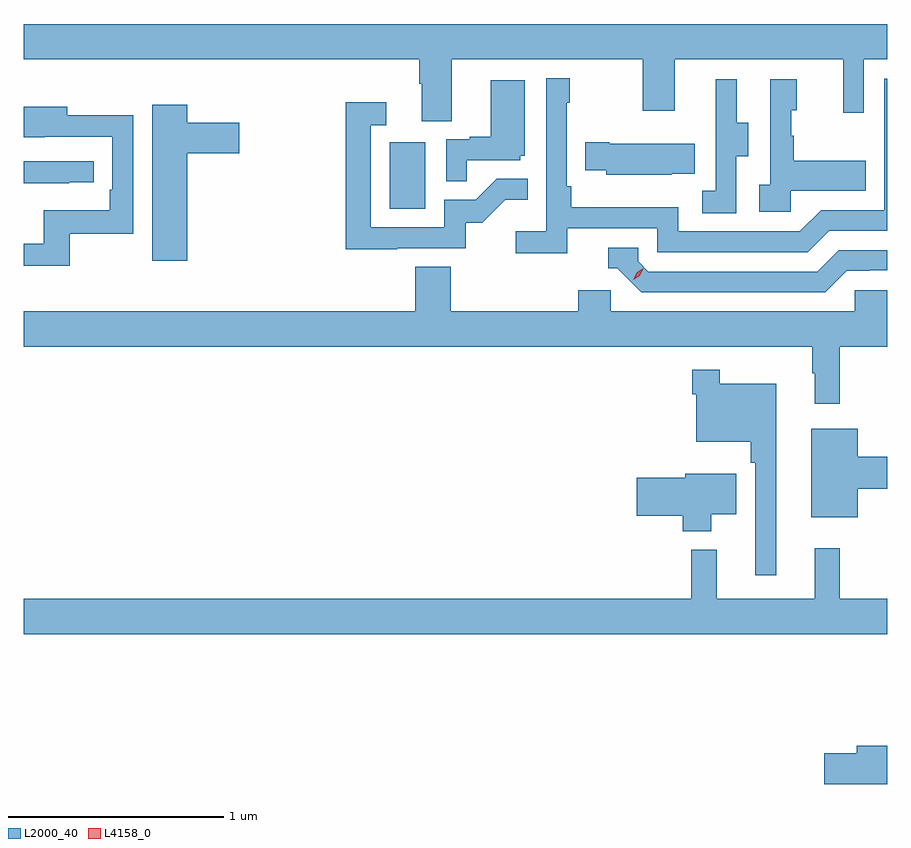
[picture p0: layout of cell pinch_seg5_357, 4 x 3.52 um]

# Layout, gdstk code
import gdstk
lib = gdstk.Library(unit=1e-6, precision=1e-09)
def R(c, l, rs):  # rectangles x0, y0, x1, y1
    for r in rs: c.add(gdstk.rectangle(r[:2], r[2:], *l))
def P(c, l, *ps):  # polygons
    for p in ps: c.add(gdstk.Polygon(p, *l))
L2000_40 = (2000, 40)
L4158_0 = (4158, 0)

pinch_seg5_357 = lib.new_cell('pinch_seg5_357')
R(pinch_seg5_357, L2000_40, [(963.854,877.38,964.018,877.687)])
P(pinch_seg5_357, L2000_40, [(964.141,878.072),(965.026,878.072),(965.026,877.833),(965.173,877.833),(965.173,878.072),(965.954,878.072),(965.954,877.824),(966.051,877.824),(966.051,878.072),(966.158,878.072),(966.158,878.236),(962.158,878.236),(962.158,878.072),(963.989,878.072),(963.989,877.96),(964.001,877.96),(964.001,877.786),(964.141,877.786)],
  [(964.676,877.29),(965.094,877.29),(965.094,877.179),(965.791,877.179),(965.89,877.278),(966.158,877.278),(966.158,877.983),(966.144,877.983),(966.144,877.374),(965.853,877.374),(965.754,877.275),(965.19,877.275),(965.19,877.387),(964.694,877.387),(964.694,877.483),(964.674,877.483),(964.674,877.871),(964.687,877.871),(964.687,877.984),(964.578,877.984),(964.578,877.276),(964.437,877.276),(964.437,877.174),(964.676,877.174)],
  [(965.46,877.624),(965.515,877.624),(965.515,877.779),(965.461,877.779),(965.461,877.981),(965.363,877.981),(965.363,877.767),(965.364,877.767),(965.364,877.463),(965.301,877.463),(965.301,877.36),(965.46,877.36)],
  [(965.712,877.463),(966.059,877.463),(966.059,877.603),(965.725,877.603),(965.725,877.718),(965.715,877.718),(965.715,877.836),(965.74,877.836),(965.74,877.981),(965.616,877.981),(965.616,877.49),(965.565,877.49),(965.565,877.365),(965.712,877.365)],
  [(964.211,877.605),(964.458,877.605),(964.458,877.626),(964.48,877.626),(964.48,877.975),(964.322,877.975),(964.322,877.714),(964.223,877.714),(964.223,877.701),(964.116,877.701),(964.116,877.507),(964.211,877.507)],
  [(963.887,877.197),(964.206,877.197),(964.206,877.314),(964.282,877.314),(964.389,877.421),(964.493,877.421),(964.493,877.52),(964.349,877.52),(964.251,877.422),(964.107,877.422),(964.107,877.293),(963.765,877.293),(963.765,877.767),(963.838,877.767),(963.838,877.873),(963.649,877.873),(963.649,877.192),(963.887,877.192)],
  [(962.914,877.637),(963.157,877.637),(963.157,877.779),(962.914,877.779),(962.914,877.861),(962.753,877.861),(962.753,877.14),(962.914,877.14)],
  [(962.371,877.263),(962.664,877.263),(962.664,877.814),(962.359,877.814),(962.359,877.852),(962.158,877.852),(962.158,877.712),(962.255,877.712),(962.255,877.713),(962.568,877.713),(962.568,877.468),(962.555,877.468),(962.555,877.372),(962.25,877.372),(962.25,877.217),(962.158,877.217),(962.158,877.116),(962.371,877.116)],
  [(965.159,877.541),(965.267,877.541),(965.267,877.681),(964.87,877.681),(964.87,877.689),(964.759,877.689),(964.759,877.559),(964.857,877.559),(964.857,877.538),(965.159,877.538)],
  [(962.369,877.503),(962.482,877.503),(962.482,877.599),(962.158,877.599),(962.158,877.498),(962.369,877.498)],
  [(965.971,877.092),(966.078,877.092),(966.078,877.095),(966.158,877.095),(966.158,877.188),(965.934,877.188),(965.835,877.089),(965.052,877.089),(965.004,877.137),(965.004,877.2),(964.865,877.2),(964.865,877.104),(964.908,877.104),(965.019,876.993),(965.872,876.993)],
  [(965.939,876.74),(966.158,876.74),(966.158,877.002),(966.009,877.002),(966.009,876.904),(964.878,876.904),(964.878,877.002),(964.727,877.002),(964.727,876.904),(964.136,876.904),(964.136,877.112),(963.971,877.112),(963.971,876.904),(962.158,876.904),(962.158,876.74),(965.811,876.74),(965.811,876.617),(965.822,876.617),(965.822,876.477),(965.939,876.477)],
  [(965.644,876.568),(965.383,876.568),(965.383,876.634),(965.254,876.634),(965.254,876.521),(965.274,876.521),(965.274,876.299),(965.527,876.299),(965.527,876.203),(965.547,876.203),(965.547,875.682),(965.644,875.682)],
  [(966.022,876.083),(966.158,876.083),(966.158,876.23),(966.022,876.23),(966.022,876.361),(965.807,876.361),(965.807,875.951),(966.022,875.951)],
  [(965.344,875.963),(965.458,875.963),(965.458,876.151),(965.222,876.151),(965.222,876.134),(964.998,876.134),(964.998,875.956),(965.21,875.956),(965.21,875.885),(965.344,875.885)],
  [(966.158,875.572),(965.939,875.572),(965.939,875.806),(965.822,875.806),(965.822,875.572),(965.369,875.572),(965.369,875.8),(965.251,875.8),(965.251,875.572),(962.158,875.572),(962.158,875.408),(966.158,875.408)],
  [(966.158,874.892),(966.017,874.892),(966.017,874.856),(965.868,874.856),(965.868,874.714),(966.158,874.714)])
P(pinch_seg5_357, L4158_0, [(964.981,877.051),(964.981,877.051),(964.997,877.084),(965.028,877.103),(965.029,877.103),(965.029,877.102),(965.012,877.07),(964.981,877.051)])

lib.write_gds('pinch_seg5_357.gds')
